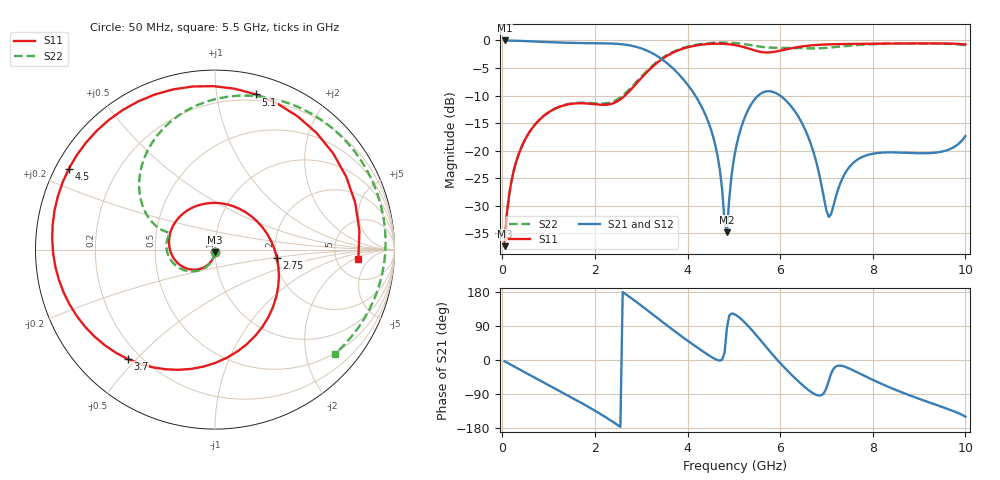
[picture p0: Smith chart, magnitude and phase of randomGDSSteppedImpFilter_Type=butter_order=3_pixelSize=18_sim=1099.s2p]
! freq	dB(S11)	phase(S11)	dB(S12)	phase(S12)
!  dB(S21)	phase(S21)	dB(S22)	phase(S22)
!S-par simulation data
#  GHz  S  DB  R 50
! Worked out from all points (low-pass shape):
!   200 points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, 50 MHz to 10 GHz, reference 50 ohm
!   highest |S21| = -0.01 dB at 50 MHz (marker M1); lowest = -34.8 dB at 4.85 GHz (marker M2)
!   |S21| within 3 dB of the highest: start of sweep to 3.377 GHz
!   lowest |S11| = -37.3 dB at 50 MHz (marker M3), VSWR 1.03, Z = 49.9 - j1.35 ohm
!   |S11| at or under -10 dB: start of sweep to 2.649 GHz
!   |S22| runs from -37.3 to -0.4 dB; largest |S21 - S12| = 0
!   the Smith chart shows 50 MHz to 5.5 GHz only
!   S11 on the Smith chart (normalised r, x): 50 MHz: 1.00, -0.03; 2.75 GHz: 2.04, -0.22; 3.7 GHz: 0.15, -0.47; 4.5 GHz: 0.04, +0.26; 5.1 GHz: 0.15, +1.29; 5.5 GHz: 8.24, -2.52
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0.05  -37.35 -93.0  -0.01 -3.4  -0.01 -3.4  -37.31 -92.6
0.2  -25.44 -103.9  -0.04 -13.4  -0.04 -13.4  -25.43 -102.9
0.5  -17.87 -125.2  -0.12 -33.3  -0.12 -33.3  -17.86 -122.3
1.15  -12.36 -172.1  -0.36 -76.0  -0.36 -76.0  -12.32 -161.0
1.75  -11.41 136.4  -0.48 -116.1  -0.48 -116.1  -11.30 170.5
2.75  -9.16 -7.7  -0.90 166.4  -0.90 166.4  -8.84 157.7
3.4  -3.68 -95.5  -3.13 106.0  -3.13 106.0  -3.52 124.3
3.7  -2.16 -128.7  -5.19 78.0  -5.19 78.0  -2.03 101.4
4.5  -0.62 151.1  -16.02 9.2  -16.02 9.2  -0.46 38.5
4.85  -0.66 111.1  -34.85 84.7  -34.85 84.7  -0.39 11.1
5.05  -0.89 83.1  -19.32 118.3  -19.32 118.3  -0.49 -4.8
5.1  -0.97 75.2  -17.52 113.9  -17.52 113.9  -0.53 -8.8
5.5  -1.93 -3.9  -10.22 63.4  -10.22 63.4  -1.05 -41.1
5.75  -2.18 -61.8  -9.22 26.7  -9.22 26.7  -1.29 -62.0
5.95  -1.95 -103.0  -9.74 -1.4  -9.74 -1.4  -1.35 -81.2
6.3  -1.33 -156.5  -12.65 -45.5  -12.65 -45.5  -1.38 -123.4
6.7  -0.88 161.8  -19.73 -87.0  -19.73 -87.0  -1.45 174.5
7.05  -0.71 133.9  -32.03 -55.0  -32.03 -55.0  -1.31 117.2
7.3  -0.67 117.0  -25.91 -14.8  -25.91 -14.8  -1.11 81.8
7.8  -0.61 87.2  -21.05 -40.7  -21.05 -40.7  -0.76 29.4
8.35  -0.57 58.2  -20.32 -71.5  -20.32 -71.5  -0.58 -8.7
10  -0.73 -17.5  -17.36 -149.4  -17.36 -149.4  -0.87 -79.6
